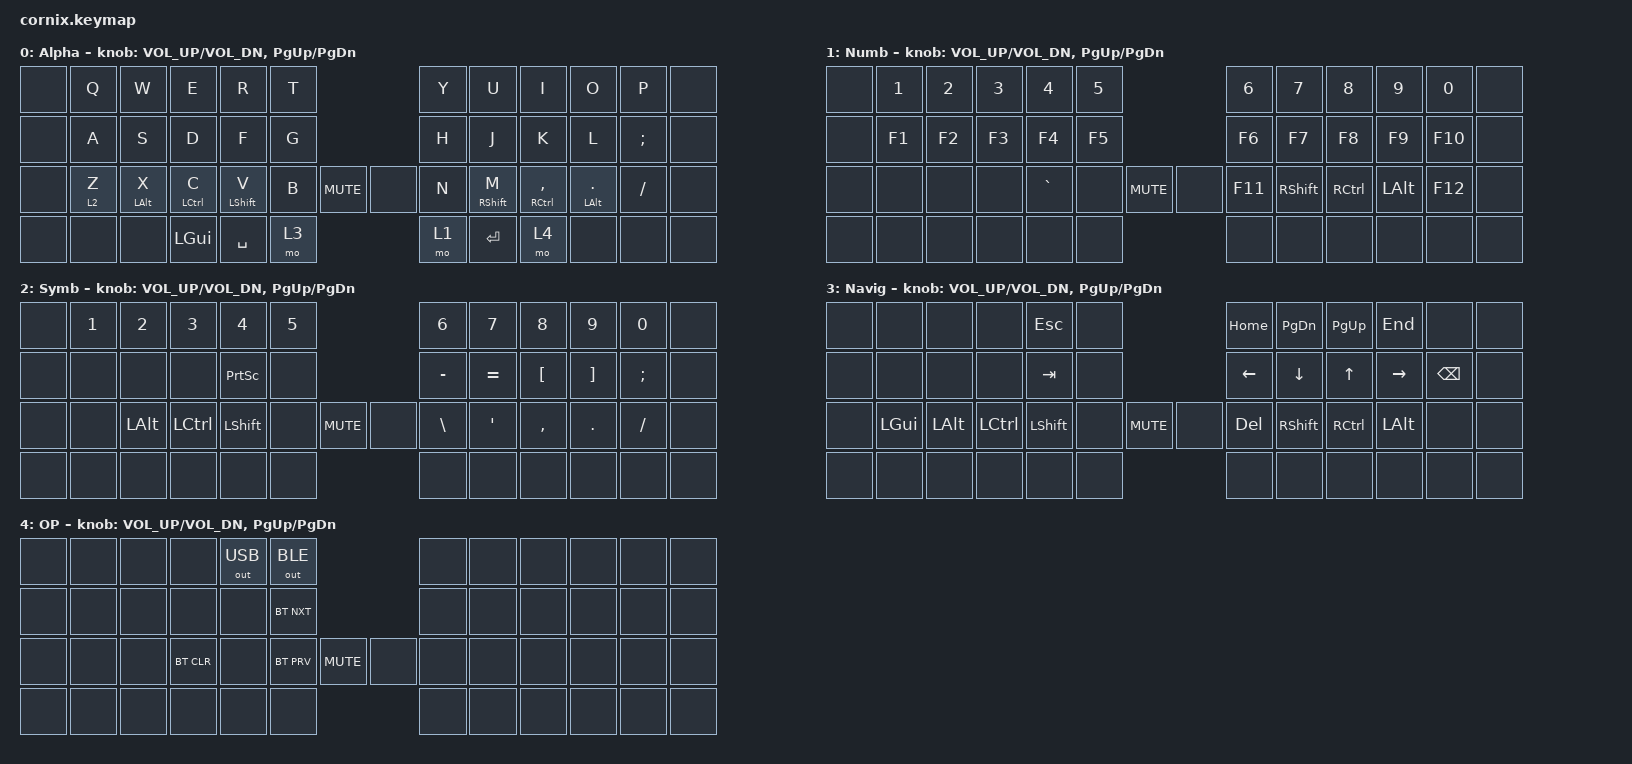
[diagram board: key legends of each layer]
/*
 * Copyright (c) 2020 The ZMK Contributors
 *
 * SPDX-License-Identifier: MIT
 */

#include "zmk-helpers/helper.h"
#include "includes/cornix54.h"
#include <behaviors.dtsi>
#include <dt-bindings/zmk/bt.h>
#include <dt-bindings/zmk/keys.h>

// tap windows for ctl alt and gui

#define HM_TAPPING_TERM 250
#define HM_TAPPING_REPEAT 210

// quick tapping for shift

#define HM_TAPPING_TERM_FAST 200
#define HM_PRIOR_IDLE 70
#define BASE 0
#define WIN 1
#define LOWER 2
#define RAISE 3
#define ADJUST 4
#define NAVI   5
#define NUM    6
#define DEBUG  7

// https://github.com/urob/zmk-config/tree/main#timeless-homerow-mods

#define KEYS_L LT0 LT1 LT2 LT3 LT4 LT5 LM0 LM1 LM2 LM3 LM4 LM5 LB0 LB1 LB2 LB3 LB4 LB5  // left hand
#define KEYS_R RT0 RT1 RT2 RT3 RT4 RT5 RM0 RM1 RM2 RM3 RM4 RM5 RB0 RB1 RB2 RB3 RB4 RB5  // right hand
#define THUMBS LH1 LH0 RH0 RH1
#define KEYS_T LH1 LH0 RH0 RH1
#define ZMK_POINTING_DEFAULT_SCRL_VAL 15

#include <behaviors.dtsi>
#include <dt-bindings/zmk/bt.h>
#include <dt-bindings/zmk/ext_power.h>
#include <dt-bindings/zmk/keys.h>
#include <dt-bindings/zmk/outputs.h>
#include <dt-bindings/zmk/pointing.h>

/ {
    // Activate ADJUST layer by pressing raise and lower

    behaviors {
        hml: home_row_mod_left {
            display-name = "hml";
            compatible = "zmk,behavior-hold-tap";
            #binding-cells = <2>;
            flavor = "balanced";
            require-prior-idle-ms = <150>;
            tapping-term-ms = <200>;
            quick-tap-ms = <175>;
            bindings = <&kp>, <&kp>;
            hold-trigger-key-positions = < KEYS_R >; // List of keys on the right side of the keyboard, optimized for key 43(v)
            hold-trigger-on-release;
        };
        hmr: home_row_mod_right {
            display-name = "hmr";
            compatible = "zmk,behavior-hold-tap";
            #binding-cells = <2>;
            flavor = "balanced";
            require-prior-idle-ms = <150>;
            tapping-term-ms = <200>;
            quick-tap-ms = <175>;
            bindings = <&kp>, <&kp>;
            hold-trigger-key-positions = < KEYS_L >; // List of keys on the left side of the keyboard
            hold-trigger-on-release;
        };
    };

    combos {
        compatible = "zmk,combos";

        combo_bks {
            timeout-ms = <50>;
            key-positions = <RT1 RT2>;
            bindings = <&kp BACKSPACE>;
        };

        combo_caps_word {
            timeout-ms = <50>;
            key-positions = <LH0 RH0>;
            bindings = <&caps_word>;
        };
    };

    keymap {
        compatible = "zmk,keymap";

        Alpha {
            display-name = "Alpha";
            bindings = <
//|------------------|------------------|------------------|------------------|------------------|------------------|------------------|------------------|------------------|------------------|------------------|------------------|------------------|
   &none              &kp Q              &kp W              &kp E              &kp R              &kp T                                 &kp Y              &kp U              &kp I              &kp O              &kp P              &none
//|------------------|------------------|------------------|------------------|------------------|------------------|------------------|------------------|------------------|------------------|------------------|------------------|------------------|
   &none              &kp A              &kp S              &kp D              &kp F              &kp G                                 &kp H              &kp J              &kp K              &kp L              &kp SEMI           &none
//|------------------|------------------|------------------|------------------|------------------|------------------|------------------|------------------|------------------|------------------|------------------|------------------|------------------|
   &none              &lt 2 Z            &hml LALT X        &hml LCTRL C       &hml LSHFT V       &kp B              &kp C_MUTE &none   &kp N              &hmr RSHFT M       &hmr RCTRL COMMA   &hmr LALT DOT      &kp FSLH           &none
//|------------------|------------------|------------------|------------------|------------------|------------------|------------------|------------------|------------------|------------------|------------------|------------------|------------------|
   &none              &none              &none              &kp LGUI           &kp SPACE          &mo 3                                 &mo 1              &kp ENTER          &mo 4              &none              &none              &none
//|------------------|------------------|------------------|------------------|------------------|------------------|------------------|------------------|------------------|------------------|------------------|------------------|------------------|
            >;
            sensor-bindings = <&inc_dec_kp C_VOL_UP C_VOL_DN &inc_dec_kp PG_UP PG_DN>;
        };

        Number {
            display-name = "Numb";

            bindings = <
//|------------------|------------------|------------------|------------------|------------------|------------------|------------------|------------------|------------------|------------------|------------------|------------------|------------------|
   &none              &kp N1             &kp N2             &kp N3             &kp N4             &kp N5                                &kp N6             &kp N7             &kp N8             &kp N9             &kp N0             &none
//|------------------|------------------|------------------|------------------|------------------|------------------|------------------|------------------|------------------|------------------|------------------|------------------|------------------|
   &none              &kp F1             &kp F2             &kp F3             &kp F4             &kp F5                                &kp F6             &kp F7             &kp F8             &kp F9             &kp F10            &none
//|------------------|------------------|------------------|------------------|------------------|------------------|------------------|------------------|------------------|------------------|------------------|------------------|------------------|
   &none              &none              &none              &none              &kp GRAVE          &none              &kp C_MUTE &none   &kp F11            &kp RSHFT          &kp RCTRL          &kp LALT           &kp F12            &none
//|------------------|------------------|------------------|------------------|------------------|------------------|------------------|------------------|------------------|------------------|------------------|------------------|------------------|
   &none              &none              &none              &none              &none              &none                                 &none              &none              &none              &none              &none              &none            
//|------------------|------------------|------------------|------------------|------------------|------------------|------------------|------------------|------------------|------------------|------------------|------------------|------------------|
            >;
            sensor-bindings = <&inc_dec_kp C_VOL_UP C_VOL_DN &inc_dec_kp PG_UP PG_DN>;
        };

        Symbol {
            display-name = "Symb";

            bindings = <
//|------------------|------------------|------------------|------------------|------------------|------------------|------------------|------------------|------------------|------------------|------------------|------------------|------------------|
   &none              &kp N1             &kp N2             &kp N3             &kp N4             &kp N5                                &kp N6             &kp N7             &kp N8             &kp N9             &kp N0             &none
//|------------------|------------------|------------------|------------------|------------------|------------------|------------------|------------------|------------------|------------------|------------------|------------------|------------------|
   &none              &none              &none              &none              &kp PSCRN          &none                                 &kp MINUS          &kp EQUAL          &kp LBKT           &kp RBKT           &kp SEMI           &none            
//|------------------|------------------|------------------|------------------|------------------|------------------|------------------|------------------|------------------|------------------|------------------|------------------|------------------|
   &none              &none              &kp LALT           &kp LCTRL          &kp LSHFT          &none              &kp C_MUTE &none   &kp BSLH           &kp APOS           &kp COMMA          &kp DOT            &kp FSLH           &none            
//|------------------|------------------|------------------|------------------|------------------|------------------|------------------|------------------|------------------|------------------|------------------|------------------|------------------|
   &none              &none              &none              &none              &none              &none                                 &none              &none              &none              &none              &none              &none            
//|------------------|------------------|------------------|------------------|------------------|------------------|------------------|------------------|------------------|------------------|------------------|------------------|------------------|
            >;
            sensor-bindings = <&inc_dec_kp C_VOL_UP C_VOL_DN &inc_dec_kp PG_UP PG_DN>;
        };

        Navigation {
            display-name = "Navig";

            bindings = <
//|------------------|------------------|------------------|------------------|------------------|------------------|------------------|------------------|------------------|------------------|------------------|------------------|------------------|
   &none              &none              &none              &none              &kp ESC            &none                                 &kp HOME           &kp PG_DN          &kp PG_UP          &kp END            &none              &none            
//|------------------|------------------|------------------|------------------|------------------|------------------|------------------|------------------|------------------|------------------|------------------|------------------|------------------|
   &none              &none              &none              &none              &kp TAB            &none                                 &kp LEFT           &kp DOWN           &kp UP             &kp RIGHT          &kp BACKSPACE      &none            
//|------------------|------------------|------------------|------------------|------------------|------------------|------------------|------------------|------------------|------------------|------------------|------------------|------------------|
   &none              &kp LGUI           &kp LALT           &kp LCTRL          &kp LSHFT          &none              &kp C_MUTE &none   &kp DEL            &kp RSHFT          &kp RCTRL          &kp LALT           &none              &none            
//|------------------|------------------|------------------|------------------|------------------|------------------|------------------|------------------|------------------|------------------|------------------|------------------|------------------|
   &none              &none              &none              &none              &none              &none                                 &none              &none              &none              &none              &none              &none            
//|------------------|------------------|------------------|------------------|------------------|------------------|------------------|------------------|------------------|------------------|------------------|------------------|------------------|
            >;
            sensor-bindings = <&inc_dec_kp C_VOL_UP C_VOL_DN &inc_dec_kp PG_UP PG_DN>;
        };

        Output {
            display-name = "OP";

            bindings = <
//|------------------|------------------|------------------|------------------|------------------|------------------|------------------|------------------|------------------|------------------|------------------|------------------|------------------
   &none              &none              &none              &none              &out OUT_USB       &out OUT_BLE                          &none              &none              &none              &none              &none              &none            
//|------------------|------------------|------------------|------------------|------------------|------------------|------------------|------------------|------------------|------------------|------------------|------------------|------------------
   &none              &none              &none              &none              &none              &bt BT_NXT                            &none              &none              &none              &none              &none              &none            
//|------------------|------------------|------------------|------------------|------------------|------------------|------------------|------------------|------------------|------------------|------------------|------------------|------------------
   &none              &none              &none              &bt BT_CLR         &none              &bt BT_PRV         &kp C_MUTE &none   &none              &none              &none              &none              &none              &none            
//|------------------|------------------|------------------|------------------|------------------|------------------|------------------|------------------|------------------|------------------|------------------|------------------|------------------
   &none              &none              &none              &none              &none              &none                                 &none              &none              &none              &none              &none              &none            
//|------------------|------------------|------------------|------------------|------------------|------------------|------------------|------------------|------------------|------------------|------------------|------------------|------------------
            >;
            sensor-bindings = <&inc_dec_kp C_VOL_UP C_VOL_DN &inc_dec_kp PG_UP PG_DN>;
        };
    };
};
